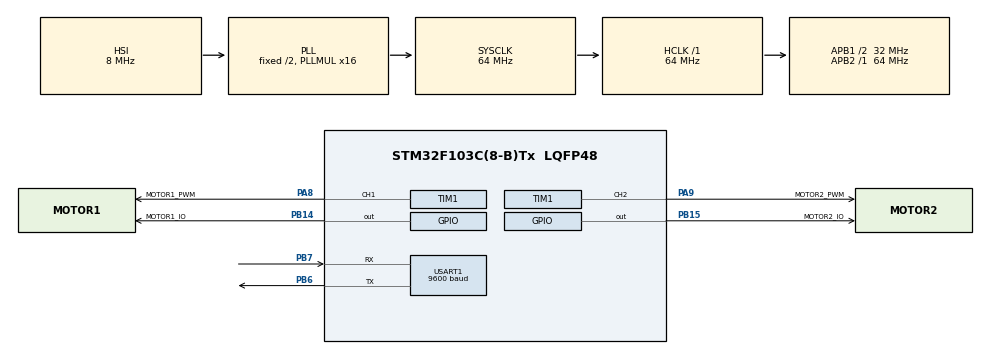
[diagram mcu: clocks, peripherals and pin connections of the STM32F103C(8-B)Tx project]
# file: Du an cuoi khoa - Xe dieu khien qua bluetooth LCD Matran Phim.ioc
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Mcu.Family=STM32F1
Mcu.Name=STM32F103C(8-B)Tx
Mcu.Package=LQFP48
NVIC.PriorityGroup=NVIC_PRIORITYGROUP_4
NVIC.USART1_IRQn=true\:1\:0\:true\:false\:true\:true\:true\:true
PA13.Mode=Serial_Wire
PA13.Signal=SYS_JTMS-SWDIO
PA14.Mode=Serial_Wire
PA14.Signal=SYS_JTCK-SWCLK
PA8.GPIO_Label=MOTOR1_PWM
PA8.Signal=S_TIM1_CH1
PA9.GPIO_Label=MOTOR2_PWM
PA9.Signal=S_TIM1_CH2
PB14.GPIO_Label=MOTOR1_IO
PB14.Signal=GPIO_Output
PB15.GPIO_Label=MOTOR2_IO
PB15.Signal=GPIO_Output
PB6.Mode=Asynchronous
PB6.Signal=USART1_TX
PB7.Mode=Asynchronous
PB7.Signal=USART1_RX
PD0-OSC_IN.Mode=HSE-External-Oscillator
PD0-OSC_IN.Signal=RCC_OSC_IN
PD1-OSC_OUT.Mode=HSE-External-Oscillator
PD1-OSC_OUT.Signal=RCC_OSC_OUT
ProjectManager.HeapSize=0x200
ProjectManager.StackSize=0x400
ProjectManager.TargetToolchain=MDK-ARM V5.32
RCC.AHBFreq_Value=64000000
RCC.APB1CLKDivider=RCC_HCLK_DIV2
RCC.APB1Freq_Value=32000000
RCC.APB1TimFreq_Value=64000000
RCC.APB2Freq_Value=64000000
RCC.APB2TimFreq_Value=64000000
RCC.HCLKFreq_Value=64000000
RCC.PLLMUL=RCC_PLL_MUL16
RCC.SYSCLKFreq_VALUE=64000000
RCC.SYSCLKSource=RCC_SYSCLKSOURCE_PLLCLK
RCC.USBFreq_Value=64000000
SH.S_TIM1_CH1.0=TIM1_CH1,PWM Generation1 CH1
SH.S_TIM1_CH2.0=TIM1_CH2,PWM Generation2 CH2
TIM1.Channel-PWM\ Generation1\ CH1=TIM_CHANNEL_1
TIM1.Channel-PWM\ Generation2\ CH2=TIM_CHANNEL_2
TIM1.Period=999
TIM1.Prescaler=63
USART1.BaudRate=9600
USART1.VirtualMode=VM_ASYNC
VP_TIM1_VS_ClockSourceINT.Mode=Internal
board=custom

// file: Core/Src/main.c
/* USER CODE BEGIN Header */
/**
  ******************************************************************************
  * @file           : main.c
  * @brief          : Main program body
  ******************************************************************************
  * @attention
  *
  * <h2><center>&copy; Copyright (c) 2021 STMicroelectronics.
  * All rights reserved.</center></h2>
  *
  * This software component is licensed by ST under BSD 3-Clause license,
  * the "License"; You may not use this file except in compliance with the
  * License. You may obtain a copy of the License at:
  *                        opensource.org/licenses/BSD-3-Clause
  *
  ******************************************************************************
  */
/* USER CODE END Header */
#include "main.h"

/* USER CODE BEGIN Includes */
#include "Car.h"
/* USER CODE END Includes */

TIM_HandleTypeDef htim1;

UART_HandleTypeDef huart1;

void SystemClock_Config(void);
static void MX_GPIO_Init(void);
static void MX_TIM1_Init(void);
static void MX_USART1_UART_Init(void);

/* USER CODE BEGIN 0 */
uint8_t data_rx = 0 ;
uint8_t uart_flag = 0;
uint8_t  car_speed = 100 ;
void HAL_UART_RxCpltCallback(UART_HandleTypeDef *huart)
{
	if(huart->Instance == huart1.Instance)
	{
		uart_flag = 1;
		HAL_UART_Receive_IT(&huart1,&data_rx,1);
	}
}
/* USER CODE END 0 */

int main(void)
{

  /* MCU Configuration--------------------------------------------------------*/

  /* Reset of all peripherals, Initializes the Flash interface and the Systick. */
  HAL_Init();

  /* Configure the system clock */
  SystemClock_Config();

  /* Initialize all configured peripherals */
  MX_GPIO_Init();
  MX_TIM1_Init();
  MX_USART1_UART_Init();
  /* USER CODE BEGIN 2 */
	HAL_UART_Receive_IT(&huart1,&data_rx,1);
	car_init(&htim1);
  /* USER CODE END 2 */

  /* Infinite loop */
  while (1)
  {

    /* USER CODE BEGIN 3 */
		if(uart_flag == 1)
		{
			switch(data_rx)
			{
				case 'S':
					car_control(CAR_STOP_STATE,0);
					break;
				case 'F':
					car_control(CAR_FORWARD_STATE,car_speed);
					break;
				case 'B':
					car_control(CAR_BACKWARD_STATE,(uint8_t)car_speed);
					break;
				case 'L':
					car_control(CAR_LEFT_STATE,(uint8_t)car_speed);
					break;
				case 'R':
					car_control(CAR_RIGHT_STATE,(uint8_t)car_speed);
					break;
				default:
					if(data_rx >= '0' && data_rx <= '9')
					{
						//0 ->90
						car_speed = (data_rx - '0')*10;
					}
					break;

			}
			uart_flag = 0;
		}
  }
  /* USER CODE END 3 */
}

void SystemClock_Config(void)
{
  RCC_OscInitTypeDef RCC_OscInitStruct = {0};
  RCC_ClkInitTypeDef RCC_ClkInitStruct = {0};

  /** Initializes the RCC Oscillators according to the specified parameters
  * in the RCC_OscInitTypeDef structure.
  */
  RCC_OscInitStruct.OscillatorType = RCC_OSCILLATORTYPE_HSI;
  RCC_OscInitStruct.HSIState = RCC_HSI_ON;
  RCC_OscInitStruct.HSICalibrationValue = RCC_HSICALIBRATION_DEFAULT;
  RCC_OscInitStruct.PLL.PLLState = RCC_PLL_ON;
  RCC_OscInitStruct.PLL.PLLSource = RCC_PLLSOURCE_HSI_DIV2;
  RCC_OscInitStruct.PLL.PLLMUL = RCC_PLL_MUL16;
  if (HAL_RCC_OscConfig(&RCC_OscInitStruct) != HAL_OK)
  {
    Error_Handler();
  }

  /** Initializes the CPU, AHB and APB buses clocks
  */
  RCC_ClkInitStruct.ClockType = RCC_CLOCKTYPE_HCLK|RCC_CLOCKTYPE_SYSCLK
                              |RCC_CLOCKTYPE_PCLK1|RCC_CLOCKTYPE_PCLK2;
  RCC_ClkInitStruct.SYSCLKSource = RCC_SYSCLKSOURCE_PLLCLK;
  RCC_ClkInitStruct.AHBCLKDivider = RCC_SYSCLK_DIV1;
  RCC_ClkInitStruct.APB1CLKDivider = RCC_HCLK_DIV2;
  RCC_ClkInitStruct.APB2CLKDivider = RCC_HCLK_DIV1;

  if (HAL_RCC_ClockConfig(&RCC_ClkInitStruct, FLASH_LATENCY_2) != HAL_OK)
  {
    Error_Handler();
  }
}

static void MX_TIM1_Init(void)
{

  TIM_ClockConfigTypeDef sClockSourceConfig = {0};
  TIM_MasterConfigTypeDef sMasterConfig = {0};
  TIM_OC_InitTypeDef sConfigOC = {0};
  TIM_BreakDeadTimeConfigTypeDef sBreakDeadTimeConfig = {0};

  htim1.Instance = TIM1;
  htim1.Init.Prescaler = 63;
  htim1.Init.CounterMode = TIM_COUNTERMODE_UP;
  htim1.Init.Period = 999;
  htim1.Init.ClockDivision = TIM_CLOCKDIVISION_DIV1;
  htim1.Init.RepetitionCounter = 0;
  htim1.Init.AutoReloadPreload = TIM_AUTORELOAD_PRELOAD_DISABLE;
  if (HAL_TIM_Base_Init(&htim1) != HAL_OK)
  {
    Error_Handler();
  }
  sClockSourceConfig.ClockSource = TIM_CLOCKSOURCE_INTERNAL;
  if (HAL_TIM_ConfigClockSource(&htim1, &sClockSourceConfig) != HAL_OK)
  {
    Error_Handler();
  }
  if (HAL_TIM_PWM_Init(&htim1) != HAL_OK)
  {
    Error_Handler();
  }
  sMasterConfig.MasterOutputTrigger = TIM_TRGO_RESET;
  sMasterConfig.MasterSlaveMode = TIM_MASTERSLAVEMODE_DISABLE;
  if (HAL_TIMEx_MasterConfigSynchronization(&htim1, &sMasterConfig) != HAL_OK)
  {
    Error_Handler();
  }
  sConfigOC.OCMode = TIM_OCMODE_PWM1;
  sConfigOC.Pulse = 0;
  sConfigOC.OCPolarity = TIM_OCPOLARITY_HIGH;
  sConfigOC.OCNPolarity = TIM_OCNPOLARITY_HIGH;
  sConfigOC.OCFastMode = TIM_OCFAST_DISABLE;
  sConfigOC.OCIdleState = TIM_OCIDLESTATE_RESET;
  sConfigOC.OCNIdleState = TIM_OCNIDLESTATE_RESET;
  if (HAL_TIM_PWM_ConfigChannel(&htim1, &sConfigOC, TIM_CHANNEL_1) != HAL_OK)
  {
    Error_Handler();
  }
  if (HAL_TIM_PWM_ConfigChannel(&htim1, &sConfigOC, TIM_CHANNEL_2) != HAL_OK)
  {
    Error_Handler();
  }
  sBreakDeadTimeConfig.OffStateRunMode = TIM_OSSR_DISABLE;
  sBreakDeadTimeConfig.OffStateIDLEMode = TIM_OSSI_DISABLE;
  sBreakDeadTimeConfig.LockLevel = TIM_LOCKLEVEL_OFF;
  sBreakDeadTimeConfig.DeadTime = 0;
  sBreakDeadTimeConfig.BreakState = TIM_BREAK_DISABLE;
  sBreakDeadTimeConfig.BreakPolarity = TIM_BREAKPOLARITY_HIGH;
  sBreakDeadTimeConfig.AutomaticOutput = TIM_AUTOMATICOUTPUT_DISABLE;
  if (HAL_TIMEx_ConfigBreakDeadTime(&htim1, &sBreakDeadTimeConfig) != HAL_OK)
  {
    Error_Handler();
  }
  HAL_TIM_MspPostInit(&htim1);

}

static void MX_USART1_UART_Init(void)
{

  huart1.Instance = USART1;
  huart1.Init.BaudRate = 9600;
  huart1.Init.WordLength = UART_WORDLENGTH_8B;
  huart1.Init.StopBits = UART_STOPBITS_1;
  huart1.Init.Parity = UART_PARITY_NONE;
  huart1.Init.Mode = UART_MODE_TX_RX;
  huart1.Init.HwFlowCtl = UART_HWCONTROL_NONE;
  huart1.Init.OverSampling = UART_OVERSAMPLING_16;
  if (HAL_UART_Init(&huart1) != HAL_OK)
  {
    Error_Handler();
  }

}

static void MX_GPIO_Init(void)
{
  GPIO_InitTypeDef GPIO_InitStruct = {0};

  /* GPIO Ports Clock Enable */
  __HAL_RCC_GPIOD_CLK_ENABLE();
  __HAL_RCC_GPIOB_CLK_ENABLE();
  __HAL_RCC_GPIOA_CLK_ENABLE();

  /*Configure GPIO pin Output Level */
  HAL_GPIO_WritePin(GPIOB, MOTOR1_IO_Pin|MOTOR2_IO_Pin, GPIO_PIN_RESET);

  /*Configure GPIO pins : MOTOR1_IO_Pin MOTOR2_IO_Pin */
  GPIO_InitStruct.Pin = MOTOR1_IO_Pin|MOTOR2_IO_Pin;
  GPIO_InitStruct.Mode = GPIO_MODE_OUTPUT_PP;
  GPIO_InitStruct.Pull = GPIO_NOPULL;
  GPIO_InitStruct.Speed = GPIO_SPEED_FREQ_LOW;
  HAL_GPIO_Init(GPIOB, &GPIO_InitStruct);

}

void Error_Handler(void)
{
  __disable_irq();
  while (1)
  {
  }
}
